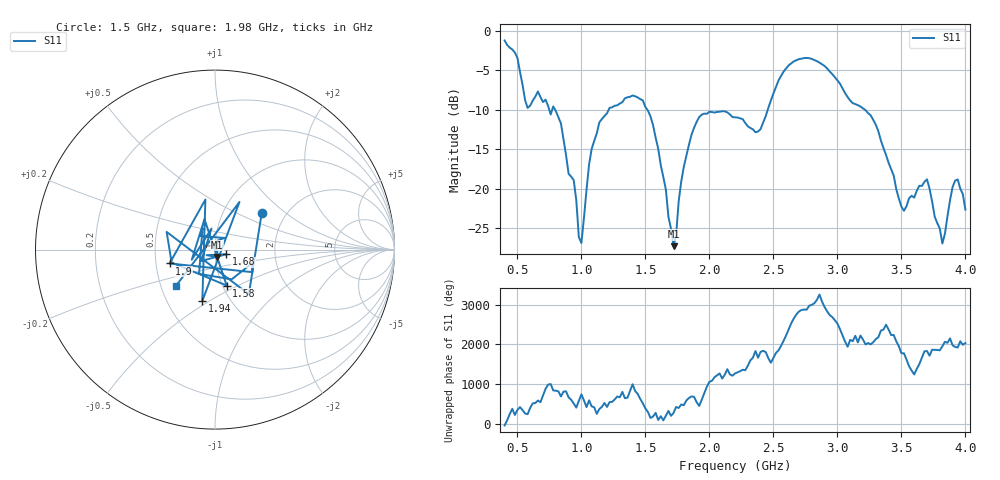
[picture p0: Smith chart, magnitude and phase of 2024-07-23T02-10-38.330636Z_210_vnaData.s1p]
!Created with skrf (http://scikit-rf.org).
# Hz S RI R 50.0
!freq ReS11 ImS11
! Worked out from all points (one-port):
!   181 points, 400 MHz to 4 GHz, reference 50 ohm
!   lowest |S11| = -27.2 dB at 1.72 GHz (marker M1), VSWR 1.09, Z = 51.1 - j4.26 ohm
!   |S11| at or under -10 dB: 794.6 MHz to 1.213 GHz (418.5 MHz wide, 41.7 % of centre); 1.515 GHz to 2.456 GHz (941.1 MHz wide, 47.4 % of centre); 3.215 GHz to end of sweep (the widest 3 of 4)
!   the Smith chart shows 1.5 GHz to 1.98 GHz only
!   S11 on the Smith chart (normalised r, x): 1.5 GHz: 1.52, +0.68; 1.58 GHz: 1.05, -0.44; 1.68 GHz: 1.13, -0.06; 1.9 GHz: 0.59, -0.10; 1.94 GHz: 0.74, -0.47; 1.98 GHz: 0.60, -0.27
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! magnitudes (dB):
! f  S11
! 400 MHz  -1.2
! 500 MHz  -3.4
! 580 MHz  -9.8
! 660 MHz  -7.7
! 860 MHz  -13.7
! 940 MHz  -18.9
! 1 GHz  -26.8
! 1.08 GHz  -15.0
! 1.3 GHz  -9.2
! 1.5 GHz  -9.7
! 1.58 GHz  -13.5
! 1.68 GHz  -23.5
! 1.72 GHz  -27.2
! 1.76 GHz  -21.6
! 1.9 GHz  -11.6
! 1.94 GHz  -10.6
! 1.98 GHz  -10.5
! 2.2 GHz  -11.0
! 2.4 GHz  -12.4
! 2.66 GHz  -3.9
! 3.1 GHz  -8.8
! 3.3 GHz  -11.9
! 3.5 GHz  -22.2
! 3.56 GHz  -21.2
! 3.7 GHz  -18.8
! 3.82 GHz  -26.9
! 3.92 GHz  -19.0
! 4 GHz  -22.6
